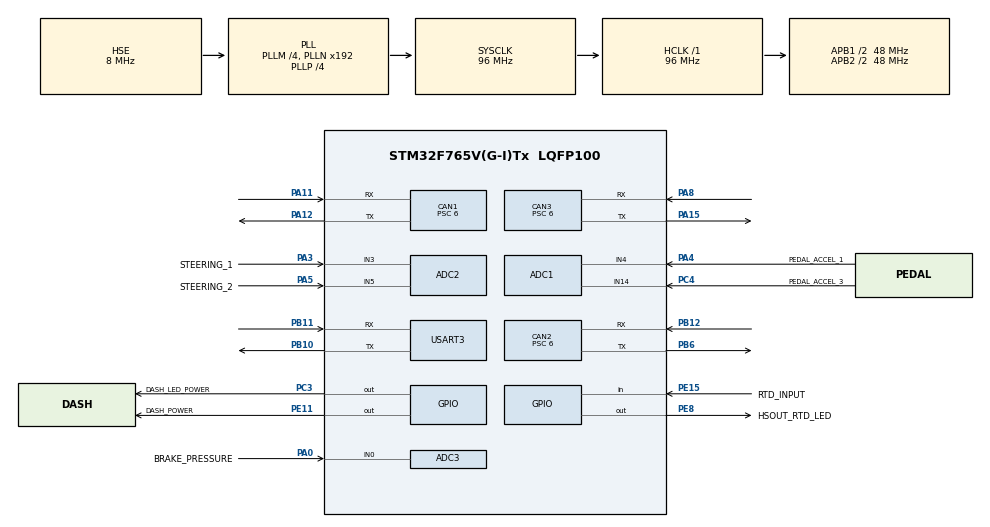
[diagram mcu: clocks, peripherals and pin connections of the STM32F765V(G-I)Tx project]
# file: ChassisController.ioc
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ADC1.Channel-13\#ChannelRegularConversion=ADC_CHANNEL_4
ADC1.Channel-14\#ChannelRegularConversion=ADC_CHANNEL_14
ADC1.ContinuousConvMode=ENABLE
ADC1.DMAContinuousRequests=ENABLE
ADC1.NbrOfConversion=2
ADC1.NbrOfConversionFlag=1
ADC1.Rank-13\#ChannelRegularConversion=1
ADC1.Rank-14\#ChannelRegularConversion=2
ADC1.SamplingTime-13\#ChannelRegularConversion=ADC_SAMPLETIME_480CYCLES
ADC1.SamplingTime-14\#ChannelRegularConversion=ADC_SAMPLETIME_480CYCLES
ADC1.ScanConvMode=ADC_SCAN_ENABLE
ADC1.master=1
ADC2.Channel-0\#ChannelRegularConversion=ADC_CHANNEL_5
ADC2.Channel-1\#ChannelRegularConversion=ADC_CHANNEL_3
ADC2.DMAContinuousRequests=ENABLE
ADC2.NbrOfConversion=2
ADC2.NbrOfConversionFlag=1
ADC2.Rank-0\#ChannelRegularConversion=1
ADC2.Rank-1\#ChannelRegularConversion=2
ADC2.SamplingTime-0\#ChannelRegularConversion=ADC_SAMPLETIME_480CYCLES
ADC2.SamplingTime-1\#ChannelRegularConversion=ADC_SAMPLETIME_480CYCLES
ADC2.ScanConvMode=ADC_SCAN_ENABLE
ADC3.Channel-1\#ChannelRegularConversion=ADC_CHANNEL_0
ADC3.ContinuousConvMode=ENABLE
ADC3.DMAContinuousRequests=ENABLE
ADC3.InjNumberOfConversion=0
ADC3.NbrOfConversion=1
ADC3.NbrOfConversionFlag=1
ADC3.Rank-1\#ChannelRegularConversion=1
ADC3.SamplingTime-1\#ChannelRegularConversion=ADC_SAMPLETIME_480CYCLES
ADC3.ScanConvMode=ADC_SCAN_ENABLE
CAN1.BS1=CAN_BS1_13TQ
CAN1.BS2=CAN_BS2_2TQ
CAN1.CalculateBaudRate=500000
CAN1.CalculateTimeBit=2000
CAN1.CalculateTimeQuantum=125.0
CAN1.Mode=CAN_MODE_NORMAL
CAN1.Prescaler=6
CAN2.BS1=CAN_BS1_13TQ
CAN2.BS2=CAN_BS2_2TQ
CAN2.CalculateBaudRate=500000
CAN2.CalculateTimeBit=2000
CAN2.CalculateTimeQuantum=125.0
CAN2.Prescaler=6
CAN3.BS1=CAN_BS1_13TQ
CAN3.BS2=CAN_BS2_2TQ
CAN3.CalculateBaudRate=500000
CAN3.CalculateTimeBit=2000
CAN3.CalculateTimeQuantum=125.0
CAN3.Prescaler=6
Dma.ADC1.0.Direction=DMA_PERIPH_TO_MEMORY
Dma.ADC1.0.FIFOMode=DMA_FIFOMODE_DISABLE
Dma.ADC1.0.Instance=DMA2_Stream0
Dma.ADC1.0.MemDataAlignment=DMA_MDATAALIGN_HALFWORD
Dma.ADC1.0.MemInc=DMA_MINC_ENABLE
Dma.ADC1.0.Mode=DMA_CIRCULAR
Dma.ADC1.0.PeriphDataAlignment=DMA_PDATAALIGN_HALFWORD
Dma.ADC1.0.PeriphInc=DMA_PINC_DISABLE
Dma.ADC1.0.Priority=DMA_PRIORITY_LOW
Dma.ADC2.2.Direction=DMA_PERIPH_TO_MEMORY
Dma.ADC2.2.FIFOMode=DMA_FIFOMODE_DISABLE
Dma.ADC2.2.Instance=DMA2_Stream2
Dma.ADC2.2.MemDataAlignment=DMA_MDATAALIGN_HALFWORD
Dma.ADC2.2.MemInc=DMA_MINC_ENABLE
Dma.ADC2.2.Mode=DMA_CIRCULAR
Dma.ADC2.2.PeriphDataAlignment=DMA_PDATAALIGN_HALFWORD
Dma.ADC2.2.PeriphInc=DMA_PINC_DISABLE
Dma.ADC2.2.Priority=DMA_PRIORITY_LOW
Dma.ADC3.1.Direction=DMA_PERIPH_TO_MEMORY
Dma.ADC3.1.FIFOMode=DMA_FIFOMODE_DISABLE
Dma.ADC3.1.Instance=DMA2_Stream1
Dma.ADC3.1.MemDataAlignment=DMA_MDATAALIGN_HALFWORD
Dma.ADC3.1.MemInc=DMA_MINC_ENABLE
Dma.ADC3.1.Mode=DMA_CIRCULAR
Dma.ADC3.1.PeriphDataAlignment=DMA_PDATAALIGN_HALFWORD
Dma.ADC3.1.PeriphInc=DMA_PINC_DISABLE
Dma.ADC3.1.Priority=DMA_PRIORITY_LOW
Dma.Request0=ADC1
Dma.Request1=ADC3
Dma.Request2=ADC2
Mcu.Family=STM32F7
Mcu.Name=STM32F765V(G-I)Tx
Mcu.Package=LQFP100
NVIC.CAN1_RX0_IRQn=true\:0\:0\:false\:false\:true\:true\:true
NVIC.CAN1_RX1_IRQn=true\:0\:0\:false\:false\:true\:true\:true
NVIC.CAN2_RX0_IRQn=true\:0\:0\:false\:false\:true\:true\:true
NVIC.CAN2_RX1_IRQn=true\:0\:0\:false\:false\:true\:true\:true
NVIC.CAN3_RX0_IRQn=true\:0\:0\:false\:false\:true\:true\:true
NVIC.CAN3_RX1_IRQn=true\:0\:0\:false\:false\:true\:true\:true
NVIC.DMA2_Stream0_IRQn=true\:0\:0\:false\:false\:true\:false\:true
NVIC.DMA2_Stream1_IRQn=true\:0\:0\:false\:false\:true\:false\:true
NVIC.DMA2_Stream2_IRQn=true\:0\:0\:false\:false\:true\:false\:true
NVIC.PriorityGroup=NVIC_PRIORITYGROUP_4
NVIC.TIM2_IRQn=true\:0\:0\:false\:false\:true\:true\:true
NVIC.TIM7_IRQn=true\:0\:0\:false\:false\:true\:false\:true
NVIC.TimeBase=TIM7_IRQn
NVIC.TimeBaseIP=TIM7
PA0/WKUP.GPIO_Label=BRAKE_PRESSURE
PA0/WKUP.Signal=ADCx_IN0
PA11.Mode=CAN_Activate
PA11.Signal=CAN1_RX
PA12.Mode=CAN_Activate
PA12.Signal=CAN1_TX
PA15.Mode=CAN_Activate
PA15.Signal=CAN3_TX
PA3.GPIO_Label=STEERING_1
PA3.Signal=ADCx_IN3
PA4.GPIO_Label=PEDAL_ACCEL_1
PA4.Signal=ADCx_IN4
PA5.GPIO_Label=STEERING_2
PA5.Signal=ADCx_IN5
PA6.GPIO_Label=PEDAL_ACCEL_2
PA6.Signal=ADCx_IN6
PA8.Mode=CAN_Activate
PA8.Signal=CAN3_RX
PB10.Mode=Asynchronous
PB10.Signal=USART3_TX
PB11.Mode=Asynchronous
PB11.Signal=USART3_RX
PB12.Mode=CAN_Activate
PB12.Signal=CAN2_RX
PB13.Signal=USB_OTG_HS_VBUS
PB6.Mode=CAN_Activate
PB6.Signal=CAN2_TX
PC14/OSC32_IN.Mode=LSE-External-Clock-Source
PC14/OSC32_IN.Signal=RCC_OSC32_IN
PC15/OSC32_OUT.Mode=LSE-External-Clock-Source
PC15/OSC32_OUT.Signal=RCC_OSC32_OUT
PC3.GPIO_Label=DASH_LED_POWER
PC3.Signal=GPIO_Output
PC4.GPIO_Label=PEDAL_ACCEL_3
PC4.Signal=ADCx_IN14
PE11.GPIO_Label=DASH_POWER
PE11.Signal=GPIO_Output
PE15.GPIO_Label=RTD_INPUT
PE15.Signal=GPIO_Input
PE8.GPIO_Label=HSOUT_RTD_LED
PE8.Signal=GPIO_Output
PH0/OSC_IN.Mode=HSE-External-Clock-Source
PH0/OSC_IN.Signal=RCC_OSC_IN
PH1/OSC_OUT.Mode=HSE-External-Clock-Source
PH1/OSC_OUT.Signal=RCC_OSC_OUT
ProjectManager.HeapSize=0x200
ProjectManager.StackSize=0x400
ProjectManager.TargetToolchain=STM32CubeIDE
RCC.AHBFreq_Value=96000000
RCC.APB1CLKDivider=RCC_HCLK_DIV2
RCC.APB1Freq_Value=48000000
RCC.APB1TimFreq_Value=96000000
RCC.APB2CLKDivider=RCC_HCLK_DIV2
RCC.APB2Freq_Value=48000000
RCC.APB2TimFreq_Value=96000000
RCC.CortexFreq_Value=96000000
RCC.HCLKFreq_Value=96000000
RCC.HSE_VALUE=8000000
RCC.HSI_VALUE=16000000
RCC.LSE_VALUE=32768
RCC.PLLM=4
RCC.PLLP=RCC_PLLP_DIV4
RCC.PLLQ=8
RCC.PLLSourceVirtual=RCC_PLLSOURCE_HSE
RCC.SDMMCClockSelection=RCC_SDMMC1CLKSOURCE_CLK48
RCC.SYSCLKFreq_VALUE=96000000
RCC.SYSCLKSource=RCC_SYSCLKSOURCE_PLLCLK
RCC.USBFreq_Value=48000000
RCC.VCOOutputFreq_Value=384000000
SH.ADCx_IN0.0=ADC3_IN0,IN0
SH.ADCx_IN14.0=ADC1_IN14,IN14
SH.ADCx_IN3.0=ADC2_IN3,IN3
SH.ADCx_IN4.0=ADC1_IN4,IN4
SH.ADCx_IN5.0=ADC2_IN5,IN5
SH.ADCx_IN6.0=ADC1_IN6
TIM2.Period=60000
TIM2.Prescaler=8
USART3.VirtualMode-Asynchronous=VM_ASYNC
VP_SYS_VS_tim7.Mode=TIM7
VP_TIM2_VS_ClockSourceINT.Mode=Internal
board=custom

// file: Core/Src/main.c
/* USER CODE BEGIN Header */
/**
 ******************************************************************************
 * @file           : main.c
 * @brief          : Main program body
 ******************************************************************************
 * @attention
 *
 * <h2><center>&copy; Copyright (c) 2021 STMicroelectronics.
 * All rights reserved.</center></h2>
 *
 * This software component is licensed by ST under Ultimate Liberty license
 * SLA0044, the "License"; You may not use this file except in compliance with
 * the License. You may obtain a copy of the License at:
 *                             www.st.com/SLA0044
 *
 ******************************************************************************
 */
/* USER CODE END Header */
#include "main.h"
#include "adc.h"
#include "can.h"
#include "dma.h"
#include "tim.h"
#include "usart.h"
#include "gpio.h"

/* USER CODE BEGIN Includes */
#include <sys/unistd.h>

#include <FSM.h>

#include "sensor_adc.h"
#include "states.h"
#include "debugCAN.h"
#include "heartbeat.h"
#include "can_dict.h"

/* USER CODE END Includes */

/* USER CODE BEGIN PV */
fsm_t fsm;

/* USER CODE END PV */

void SystemClock_Config(void);
/* USER CODE BEGIN PFP */
void fsm_log_uart(const char *data, size_t len);
void fsm_state_enter(fsm_t *fsm_def);
void fsm_state_exit(fsm_t *fsm_def);
/* USER CODE END PFP */

/* USER CODE BEGIN 0 */
#ifdef PRINTF_TO_UART
/** Override _write to log to UART */
int _write(int file, char *data, int len) {
	if ((file != STDOUT_FILENO) && (file != STDERR_FILENO)) {
		return -1;
	}
	HAL_StatusTypeDef s = HAL_UART_Transmit(&huart3, (uint8_t*) data, len,
	UART_TIMEOUT);
	/*
	 // log whatever we transmit to serial
	 serial_log_t log_wrapper;
	 memcpy(log_wrapper.data, data, len);
	 log_wrapper.len = len;
	 queue_add(&queue_serial_log, &log_wrapper);
	 */
	return (s == HAL_OK ? len : 0);
}
#endif
/* USER CODE END 0 */

int main(void)
{

  /* MCU Configuration--------------------------------------------------------*/

  /* Reset of all peripherals, Initializes the Flash interface and the Systick. */
  HAL_Init();

  /* Configure the system clock */
  SystemClock_Config();

  /* Initialize all configured peripherals */
  MX_GPIO_Init();
  MX_DMA_Init();
  MX_CAN1_Init();
  MX_USART3_UART_Init();
  MX_CAN2_Init();
  MX_CAN3_Init();
  MX_ADC1_Init();
  MX_TIM2_Init();
  MX_ADC3_Init();
  MX_ADC2_Init();
  /* USER CODE BEGIN 2 */

	// init fsm
	fsm.log = &fsm_log_uart;
	fsm_init(&fsm, &state_start, &fsm_state_enter, &fsm_state_exit);

  /* USER CODE END 2 */

  /* Infinite loop */
	while (1) {

    /* USER CODE BEGIN 3 */

		// update key timers
		timer_update(&timer_sensor_adc, NULL);
		timer_update(&timer_heartbeat, NULL);
		timer_update(&timer_OD, NULL);

		// continue fsm
		fsm_iterate(&fsm);
	}
  /* USER CODE END 3 */
}

void SystemClock_Config(void)
{
  RCC_OscInitTypeDef RCC_OscInitStruct = {0};
  RCC_ClkInitTypeDef RCC_ClkInitStruct = {0};
  RCC_PeriphCLKInitTypeDef PeriphClkInitStruct = {0};

  /** Configure the main internal regulator output voltage
  */
  __HAL_RCC_PWR_CLK_ENABLE();
  __HAL_PWR_VOLTAGESCALING_CONFIG(PWR_REGULATOR_VOLTAGE_SCALE3);
  /** Initializes the RCC Oscillators according to the specified parameters
  * in the RCC_OscInitTypeDef structure.
  */
  RCC_OscInitStruct.OscillatorType = RCC_OSCILLATORTYPE_HSE;
  RCC_OscInitStruct.HSEState = RCC_HSE_BYPASS;
  RCC_OscInitStruct.PLL.PLLState = RCC_PLL_ON;
  RCC_OscInitStruct.PLL.PLLSource = RCC_PLLSOURCE_HSE;
  RCC_OscInitStruct.PLL.PLLM = 4;
  RCC_OscInitStruct.PLL.PLLN = 192;
  RCC_OscInitStruct.PLL.PLLP = RCC_PLLP_DIV4;
  RCC_OscInitStruct.PLL.PLLQ = 8;
  if (HAL_RCC_OscConfig(&RCC_OscInitStruct) != HAL_OK)
  {
    Error_Handler();
  }
  /** Activate the Over-Drive mode
  */
  if (HAL_PWREx_EnableOverDrive() != HAL_OK)
  {
    Error_Handler();
  }
  /** Initializes the CPU, AHB and APB buses clocks
  */
  RCC_ClkInitStruct.ClockType = RCC_CLOCKTYPE_HCLK|RCC_CLOCKTYPE_SYSCLK
                              |RCC_CLOCKTYPE_PCLK1|RCC_CLOCKTYPE_PCLK2;
  RCC_ClkInitStruct.SYSCLKSource = RCC_SYSCLKSOURCE_PLLCLK;
  RCC_ClkInitStruct.AHBCLKDivider = RCC_SYSCLK_DIV1;
  RCC_ClkInitStruct.APB1CLKDivider = RCC_HCLK_DIV2;
  RCC_ClkInitStruct.APB2CLKDivider = RCC_HCLK_DIV2;

  if (HAL_RCC_ClockConfig(&RCC_ClkInitStruct, FLASH_LATENCY_3) != HAL_OK)
  {
    Error_Handler();
  }
  PeriphClkInitStruct.PeriphClockSelection = RCC_PERIPHCLK_USART3;
  PeriphClkInitStruct.Usart3ClockSelection = RCC_USART3CLKSOURCE_PCLK1;
  if (HAL_RCCEx_PeriphCLKConfig(&PeriphClkInitStruct) != HAL_OK)
  {
    Error_Handler();
  }
}

/* USER CODE BEGIN 4 */
void fsm_state_enter(fsm_t *fsm_def) {
	CC_heartbeatState.stateID = fsm_def->currentState->stateID;
	debugCAN_enterState(fsm_def->currentState->stateID);
	heartbeat_timer_cb(NULL);
}

void fsm_state_exit(fsm_t *fsm_def) {
	debugCAN_exitState(fsm_def->currentState->stateID);
	heartbeat_timer_cb(NULL);
}

void fsm_log_uart(const char *data, size_t len) {
	HAL_UART_Transmit(&huart3, (uint8_t*) data, len,
		UART_TIMEOUT);
}
/* USER CODE END 4 */

 /**
  * @brief  Period elapsed callback in non blocking mode
  * @note   This function is called  when TIM7 interrupt took place, inside
  * HAL_TIM_IRQHandler(). It makes a direct call to HAL_IncTick() to increment
  * a global variable "uwTick" used as application time base.
  * @param  htim : TIM handle
  * @retval None
  */
void HAL_TIM_PeriodElapsedCallback(TIM_HandleTypeDef *htim)
{
  if (htim->Instance == TIM7) {
    HAL_IncTick();
  }
}

void Error_Handler(void)
{
  /* USER CODE BEGIN Error_Handler_Debug */
	/* User can add his own implementation to report the HAL error return state */
	printf("error handler\r\n");
  /* USER CODE END Error_Handler_Debug */
}

/************************ (C) COPYRIGHT STMicroelectronics *****END OF FILE****/
